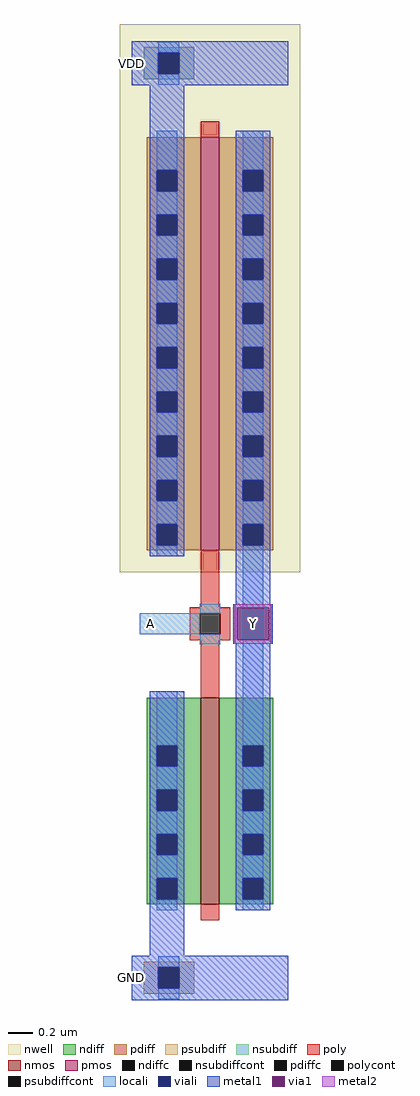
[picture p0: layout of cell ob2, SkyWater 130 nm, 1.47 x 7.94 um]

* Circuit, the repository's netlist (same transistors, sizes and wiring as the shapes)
* NGSPICE file created from ob2.ext - technology: sky130A

.subckt ob2 A Y VDD GND
X0 Y A GND GND sky130_fd_pr__nfet_01v8 ad=0.7392 pd=4.24 as=0.7392 ps=4.24 w=1.68 l=0.15
X1 Y A VDD VDD sky130_fd_pr__pfet_01v8 ad=1.4784 pd=7.6 as=1.4784 ps=7.6 w=3.36 l=0.15
.ends

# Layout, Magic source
magic
tech sky130A
magscale 1 2
<< nwell >>
rect 0 660 294 1552
<< nmos >>
rect 132 120 162 456
<< pmos >>
rect 132 696 162 1368
<< ndiff >>
rect 44 378 132 456
rect 44 344 60 378
rect 94 344 132 378
rect 44 306 132 344
rect 44 272 60 306
rect 94 272 132 306
rect 44 234 132 272
rect 44 200 60 234
rect 94 200 132 234
rect 44 162 132 200
rect 44 128 60 162
rect 94 128 132 162
rect 44 120 132 128
rect 162 378 250 456
rect 162 344 200 378
rect 234 344 250 378
rect 162 306 250 344
rect 162 272 200 306
rect 234 272 250 306
rect 162 234 250 272
rect 162 200 200 234
rect 234 200 250 234
rect 162 162 250 200
rect 162 128 200 162
rect 234 128 250 162
rect 162 120 250 128
<< pdiff >>
rect 44 1314 132 1368
rect 44 1280 60 1314
rect 94 1280 132 1314
rect 44 1242 132 1280
rect 44 1208 60 1242
rect 94 1208 132 1242
rect 44 1170 132 1208
rect 44 1136 60 1170
rect 94 1136 132 1170
rect 44 1098 132 1136
rect 44 1064 60 1098
rect 94 1064 132 1098
rect 44 1026 132 1064
rect 44 992 60 1026
rect 94 992 132 1026
rect 44 954 132 992
rect 44 920 60 954
rect 94 920 132 954
rect 44 882 132 920
rect 44 848 60 882
rect 94 848 132 882
rect 44 810 132 848
rect 44 776 60 810
rect 94 776 132 810
rect 44 738 132 776
rect 44 704 60 738
rect 94 704 132 738
rect 44 696 132 704
rect 162 1314 250 1368
rect 162 1280 200 1314
rect 234 1280 250 1314
rect 162 1242 250 1280
rect 162 1208 200 1242
rect 234 1208 250 1242
rect 162 1170 250 1208
rect 162 1136 200 1170
rect 234 1136 250 1170
rect 162 1098 250 1136
rect 162 1064 200 1098
rect 234 1064 250 1098
rect 162 1026 250 1064
rect 162 992 200 1026
rect 234 992 250 1026
rect 162 954 250 992
rect 162 920 200 954
rect 234 920 250 954
rect 162 882 250 920
rect 162 848 200 882
rect 234 848 250 882
rect 162 810 250 848
rect 162 776 200 810
rect 234 776 250 810
rect 162 738 250 776
rect 162 704 200 738
rect 234 704 250 738
rect 162 696 250 704
<< ndiffc >>
rect 60 344 94 378
rect 60 272 94 306
rect 60 200 94 234
rect 60 128 94 162
rect 200 344 234 378
rect 200 272 234 306
rect 200 200 234 234
rect 200 128 234 162
<< pdiffc >>
rect 60 1280 94 1314
rect 60 1208 94 1242
rect 60 1136 94 1170
rect 60 1064 94 1098
rect 60 992 94 1026
rect 60 920 94 954
rect 60 848 94 882
rect 60 776 94 810
rect 60 704 94 738
rect 200 1280 234 1314
rect 200 1208 234 1242
rect 200 1136 234 1170
rect 200 1064 234 1098
rect 200 992 234 1026
rect 200 920 234 954
rect 200 848 234 882
rect 200 776 234 810
rect 200 704 234 738
<< psubdiff >>
rect 39 17 121 26
rect 39 -17 63 17
rect 97 -17 121 17
rect 39 -26 121 -17
<< nsubdiff >>
rect 39 1505 121 1514
rect 39 1471 63 1505
rect 97 1471 121 1505
rect 39 1462 121 1471
<< psubdiffcont >>
rect 63 -17 97 17
<< nsubdiffcont >>
rect 63 1471 97 1505
<< poly >>
rect 132 1368 162 1394
rect 132 603 162 696
rect 114 593 180 603
rect 114 559 130 593
rect 164 559 180 593
rect 114 549 180 559
rect 132 456 162 549
rect 132 94 162 120
<< polycont >>
rect 130 559 164 593
<< locali >>
rect 63 1505 97 1523
rect 63 1453 97 1471
rect 60 1314 94 1378
rect 60 1242 94 1280
rect 60 1170 94 1208
rect 60 1098 94 1136
rect 60 1026 94 1064
rect 60 954 94 992
rect 60 882 94 920
rect 60 810 94 848
rect 60 738 94 776
rect 60 686 94 704
rect 200 1314 234 1378
rect 200 1242 234 1280
rect 200 1170 234 1208
rect 200 1098 234 1136
rect 200 1026 234 1064
rect 200 954 234 992
rect 200 882 234 920
rect 200 810 234 848
rect 200 738 234 776
rect 130 593 164 609
rect 33 559 130 593
rect 130 543 164 559
rect 60 378 94 466
rect 60 306 94 344
rect 60 234 94 272
rect 60 162 94 200
rect 60 110 94 128
rect 200 378 234 704
rect 200 306 234 344
rect 200 234 234 272
rect 200 162 234 200
rect 200 110 234 128
rect 63 17 97 35
rect 63 -35 97 -17
<< viali >>
rect 63 1471 97 1505
rect 60 1280 94 1314
rect 60 1208 94 1242
rect 60 1136 94 1170
rect 60 1064 94 1098
rect 60 992 94 1026
rect 60 920 94 954
rect 60 848 94 882
rect 60 776 94 810
rect 60 704 94 738
rect 200 1280 234 1314
rect 200 1208 234 1242
rect 200 1136 234 1170
rect 200 1064 234 1098
rect 200 992 234 1026
rect 200 920 234 954
rect 200 848 234 882
rect 200 776 234 810
rect 200 704 234 738
rect 60 344 94 378
rect 60 272 94 306
rect 60 200 94 234
rect 60 128 94 162
rect 200 344 234 378
rect 200 272 234 306
rect 200 200 234 234
rect 200 128 234 162
rect 63 -17 97 17
<< metal1 >>
rect 20 1505 274 1524
rect 20 1471 63 1505
rect 97 1471 274 1505
rect 20 1452 274 1471
rect 49 1314 105 1452
rect 49 1280 60 1314
rect 94 1280 105 1314
rect 49 1242 105 1280
rect 49 1208 60 1242
rect 94 1208 105 1242
rect 49 1170 105 1208
rect 49 1136 60 1170
rect 94 1136 105 1170
rect 49 1098 105 1136
rect 49 1064 60 1098
rect 94 1064 105 1098
rect 49 1026 105 1064
rect 49 992 60 1026
rect 94 992 105 1026
rect 49 954 105 992
rect 49 920 60 954
rect 94 920 105 954
rect 49 882 105 920
rect 49 848 60 882
rect 94 848 105 882
rect 49 810 105 848
rect 49 776 60 810
rect 94 776 105 810
rect 49 738 105 776
rect 49 704 60 738
rect 94 704 105 738
rect 49 686 105 704
rect 189 1314 245 1378
rect 189 1280 200 1314
rect 234 1280 245 1314
rect 189 1242 245 1280
rect 189 1208 200 1242
rect 234 1208 245 1242
rect 189 1170 245 1208
rect 189 1136 200 1170
rect 234 1136 245 1170
rect 189 1098 245 1136
rect 189 1064 200 1098
rect 234 1064 245 1098
rect 189 1026 245 1064
rect 189 992 200 1026
rect 234 992 245 1026
rect 189 954 245 992
rect 189 920 200 954
rect 234 920 245 954
rect 189 882 245 920
rect 189 848 200 882
rect 234 848 245 882
rect 189 810 245 848
rect 189 776 200 810
rect 234 776 245 810
rect 189 738 245 776
rect 189 704 200 738
rect 234 704 245 738
rect 189 608 245 704
rect 185 602 249 608
rect 185 550 191 602
rect 243 550 249 602
rect 185 544 249 550
rect 49 378 105 466
rect 49 344 60 378
rect 94 344 105 378
rect 49 306 105 344
rect 49 272 60 306
rect 94 272 105 306
rect 49 234 105 272
rect 49 200 60 234
rect 94 200 105 234
rect 49 162 105 200
rect 49 128 60 162
rect 94 128 105 162
rect 49 36 105 128
rect 189 378 245 544
rect 189 344 200 378
rect 234 344 245 378
rect 189 306 245 344
rect 189 272 200 306
rect 234 272 245 306
rect 189 234 245 272
rect 189 200 200 234
rect 234 200 245 234
rect 189 162 245 200
rect 189 128 200 162
rect 234 128 245 162
rect 189 110 245 128
rect 20 17 274 36
rect 20 -17 63 17
rect 97 -17 274 17
rect 20 -36 274 -17
<< via1 >>
rect 191 550 243 602
<< metal2 >>
rect 187 602 247 608
rect 187 550 191 602
rect 243 550 247 602
rect 187 544 247 550
<< labels >>
rlabel locali 50 576 50 576 0 A
port 1 nsew
rlabel via1 217 576 217 576 0 Y
port 2 nsew
rlabel metal1 20 1488 20 1488 0 VDD
port 3 nsew
rlabel metal1 20 0 20 0 0 GND
port 4 nsew
<< end >>
